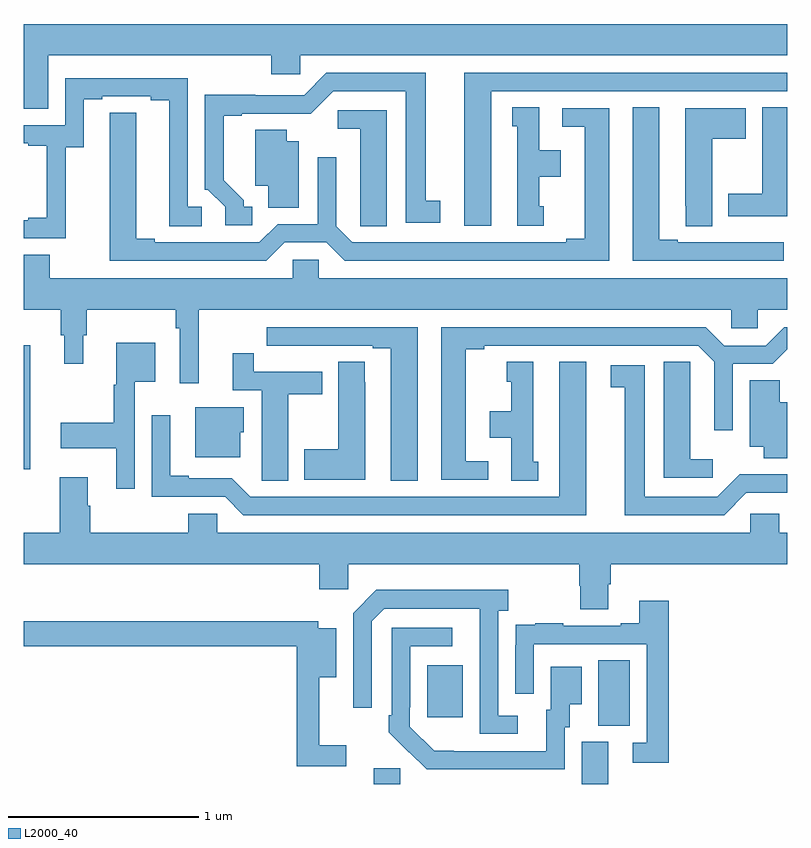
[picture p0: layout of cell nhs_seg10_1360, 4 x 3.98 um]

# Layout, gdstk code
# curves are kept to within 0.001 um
import gdstk
lib = gdstk.Library(unit=1e-6, precision=1e-09)
def R(c, l, rs):  # rectangles x0, y0, x1, y1
    for r in rs: c.add(gdstk.rectangle(r[:2], r[2:], *l))
def P(c, l, *ps):  # polygons
    for p in ps: c.add(gdstk.Polygon(p, *l))
L2000_40 = (2000, 40)

nhs_seg10_1360 = lib.new_cell('nhs_seg10_1360')
R(nhs_seg10_1360, L2000_40, [(182.834,1296.5,182.973,1296.582), (183.923,1296.5,184.063,1296.72), (184.01,1296.805,184.174,1297.148), (183.113,1296.849,183.301,1297.123), (181,1298.148,181.036,1298.797)])
P(nhs_seg10_1360, L2000_40, [(181.129,1300.316),(182.297,1300.316),(182.297,1300.218),(182.448,1300.218),(182.448,1300.316),(185,1300.316),(185,1300.48),(181,1300.48),(181,1300.036),(181.129,1300.036)],
  [(183.448,1300.128),(185,1300.128),(185,1300.224),(183.308,1300.224),(183.308,1299.423),(183.448,1299.423)],
  [(182.197,1299.522),(182.152,1299.522),(182.152,1299.557),(182.047,1299.662),(182.047,1299.999),(182.143,1299.999),(182.143,1300.011),(182.504,1300.01),(182.622,1300.128),(183.002,1300.128),(183.002,1299.438),(183.181,1299.438),(183.181,1299.554),(183.106,1299.554),(183.106,1300.224),(182.586,1300.224),(182.469,1300.107),(182.213,1300.107),(182.213,1300.109),(181.95,1300.109),(181.95,1299.612),(181.965,1299.612),(182.055,1299.522),(182.055,1299.426),(182.197,1299.426)],
  [(181.221,1299.835),(181.315,1299.835),(181.315,1300.086),(181.411,1300.086),(181.411,1300.101),(181.667,1300.101),(181.667,1300.081),(181.763,1300.081),(181.763,1299.421),(181.933,1299.421),(181.933,1299.522),(181.86,1299.522),(181.86,1300.197),(181.218,1300.197),(181.218,1299.951),(181,1299.951),(181,1299.855),(181.025,1299.855),(181.025,1299.843),(181.121,1299.843),(181.121,1299.466),(181.025,1299.466),(181.025,1299.453),(181,1299.453),(181,1299.357),(181.221,1299.357)],
  [(185,1300.043),(184.868,1300.043),(184.868,1299.591),(184.691,1299.591),(184.691,1299.474),(185,1299.474)],
  [(183.724,1299.525),(183.7,1299.525),(183.7,1299.68),(183.814,1299.68),(183.814,1299.82),(183.7,1299.82),(183.7,1300.043),(183.56,1300.043),(183.56,1299.945),(183.584,1299.945),(183.584,1299.423),(183.724,1299.423)],
  [(184.981,1299.336),(184.868,1299.336),(184.868,1299.337),(184.702,1299.337),(184.702,1299.336),(184.426,1299.336),(184.426,1299.351),(184.33,1299.351),(184.33,1300.043),(184.19,1300.043),(184.19,1299.24),(184.981,1299.24)],
  [(184.606,1299.88),(184.783,1299.88),(184.783,1300.039),(184.466,1300.039),(184.466,1299.529),(184.467,1299.529),(184.467,1299.421),(184.606,1299.421)],
  [(182.367,1299.336),(182.585,1299.336),(182.681,1299.24),(184.066,1299.24),(184.066,1300.038),(183.822,1300.038),(183.822,1299.942),(183.938,1299.942),(183.938,1299.356),(183.842,1299.356),(183.842,1299.336),(182.721,1299.336),(182.637,1299.42),(182.637,1299.781),(182.541,1299.781),(182.541,1299.432),(182.331,1299.432),(182.235,1299.336),(181.687,1299.336),(181.687,1299.356),(181.591,1299.356),(181.591,1300.016),(181.452,1300.016),(181.451,1299.24),(182.271,1299.24)],
  [(182.902,1300.029),(182.646,1300.029),(182.646,1299.932),(182.762,1299.932),(182.762,1299.529),(182.763,1299.529),(182.763,1299.421),(182.902,1299.421)],
  [(182.44,1299.865),(182.377,1299.865),(182.377,1299.926),(182.213,1299.926),(182.213,1299.632),(182.282,1299.632),(182.282,1299.517),(182.44,1299.517)],
  [(181.916,1298.984),(184.707,1298.984),(184.707,1298.886),(184.845,1298.886),(184.845,1298.984),(185,1298.984),(185,1299.148),(182.547,1299.148),(182.547,1299.246),(182.409,1299.246),(182.409,1299.148),(181.137,1299.148),(181.137,1299.272),(181,1299.272),(181,1298.984),(181.195,1298.984),(181.195,1298.85),(181.214,1298.85),(181.214,1298.7),(181.312,1298.7),(181.312,1298.85),(181.331,1298.85),(181.331,1298.984),(181.798,1298.984),(181.798,1298.888),(181.818,1298.888),(181.818,1298.598),(181.916,1298.598)],
  [(183.433,1298.19),(183.316,1298.19),(183.316,1298.776),(183.412,1298.776),(183.412,1298.796),(184.533,1298.796),(184.617,1298.712),(184.617,1298.352),(184.713,1298.352),(184.713,1298.7),(184.923,1298.7),(185,1298.777),(185,1298.892),(184.983,1298.892),(184.887,1298.796),(184.669,1298.796),(184.573,1298.892),(183.188,1298.892),(183.188,1298.094),(183.433,1298.094)],
  [(183.064,1298.892),(182.274,1298.892),(182.274,1298.796),(182.386,1298.796),(182.386,1298.795),(182.552,1298.795),(182.552,1298.796),(182.828,1298.796),(182.828,1298.781),(182.924,1298.781),(182.924,1298.089),(183.064,1298.089)],
  [(181.581,1298.606),(181.69,1298.606),(181.69,1298.812),(181.484,1298.812),(181.484,1298.592),(181.473,1298.592),(181.473,1298.393),(181.194,1298.393),(181.194,1298.258),(181.484,1298.258),(181.484,1298.046),(181.581,1298.046)],
  [(182.386,1298.542),(182.563,1298.542),(182.563,1298.658),(182.204,1298.658),(182.204,1298.755),(182.096,1298.755),(182.096,1298.562),(182.246,1298.562),(182.246,1298.2),(182.247,1298.2),(182.247,1298.089),(182.386,1298.089)],
  [(182.788,1298.603),(182.787,1298.603),(182.787,1298.711),(182.648,1298.711),(182.648,1298.253),(182.471,1298.253),(182.471,1298.093),(182.788,1298.093)],
  [(184.609,1298.2),(184.492,1298.2),(184.492,1298.603),(184.491,1298.603),(184.491,1298.711),(184.352,1298.711),(184.352,1298.103),(184.609,1298.103)],
  [(183.946,1298.71),(183.806,1298.71),(183.806,1298.004),(182.187,1298.004),(182.091,1298.1),(181.864,1298.1),(181.864,1298.113),(181.768,1298.113),(181.768,1298.431),(181.671,1298.431),(181.671,1298.004),(182.055,1298.004),(182.151,1297.908),(183.946,1297.908)],
  [(183.694,1298.187),(183.67,1298.187),(183.67,1298.71),(183.53,1298.71),(183.53,1298.607),(183.554,1298.607),(183.554,1298.452),(183.44,1298.452),(183.44,1298.312),(183.554,1298.312),(183.554,1298.089),(183.694,1298.089)],
  [(184.785,1298.025),(185,1298.025),(185,1298.121),(184.75,1298.122),(184.632,1298.004),(184.252,1298.004),(184.252,1298.694),(184.074,1298.694),(184.074,1298.578),(184.148,1298.578),(184.148,1297.908),(184.668,1297.908)],
  [(185,1298.5),(184.96,1298.5),(184.96,1298.615),(184.802,1298.615),(184.802,1298.267),(184.877,1298.267),(184.877,1298.206),(185,1298.206)],
  [(182.134,1298.343),(182.152,1298.343),(182.152,1298.473),(181.898,1298.473),(181.898,1298.21),(182.134,1298.21)],
  [(184.063,1297.546),(184.076,1297.546),(184.076,1297.652),(185,1297.652),(185,1297.816),(184.958,1297.816),(184.958,1297.914),(184.806,1297.914),(184.806,1297.816),(182.013,1297.816),(182.013,1297.914),(181.862,1297.914),(181.862,1297.816),(181.349,1297.816),(181.349,1297.958),(181.336,1297.958),(181.336,1298.107),(181.189,1298.107),(181.189,1297.816),(181,1297.816),(181,1297.652),(182.549,1297.652),(182.549,1297.521),(182.7,1297.521),(182.7,1297.652),(183.911,1297.652),(183.911,1297.539),(183.916,1297.539),(183.916,1297.414),(184.063,1297.414)],
  [(183.589,1296.858),(183.486,1296.858),(183.486,1297.406),(183.538,1297.406),(183.538,1297.516),(182.848,1297.516),(182.727,1297.395),(182.727,1296.9),(182.823,1296.9),(182.823,1297.353),(182.889,1297.419),(183.389,1297.419),(183.39,1296.762),(183.589,1296.762)],
  [(184.379,1297.459),(184.223,1297.459),(184.223,1297.342),(184.127,1297.342),(184.127,1297.329),(183.827,1297.329),(183.827,1297.342),(183.679,1297.342),(183.679,1297.335),(183.577,1297.335),(183.577,1297.226),(183.576,1297.226),(183.576,1296.972),(183.672,1296.972),(183.672,1297.233),(184.263,1297.233),(184.263,1296.717),(184.191,1296.717),(184.191,1296.612),(184.379,1296.612)],
  [(182.689,1296.703),(182.549,1296.703),(182.549,1297.058),(182.638,1297.058),(182.638,1297.315),(182.544,1297.315),(182.544,1297.351),(181,1297.351),(181,1297.222),(182.431,1297.222),(182.431,1296.594),(182.689,1296.594)],
  [(183.834,1296.798),(183.859,1296.798),(183.859,1296.917),(183.922,1296.917),(183.922,1297.114),(183.761,1297.114),(183.761,1296.888),(183.737,1296.888),(183.737,1296.672),(183.15,1296.673),(183.021,1296.801),(183.021,1296.901),(183.024,1296.901),(183.024,1297.221),(183.244,1297.221),(183.244,1297.317),(182.928,1297.317),(182.928,1296.859),(182.913,1296.859),(182.913,1296.771),(183.11,1296.576),(183.834,1296.576)])

lib.write_gds('nhs_seg10_1360.gds')
